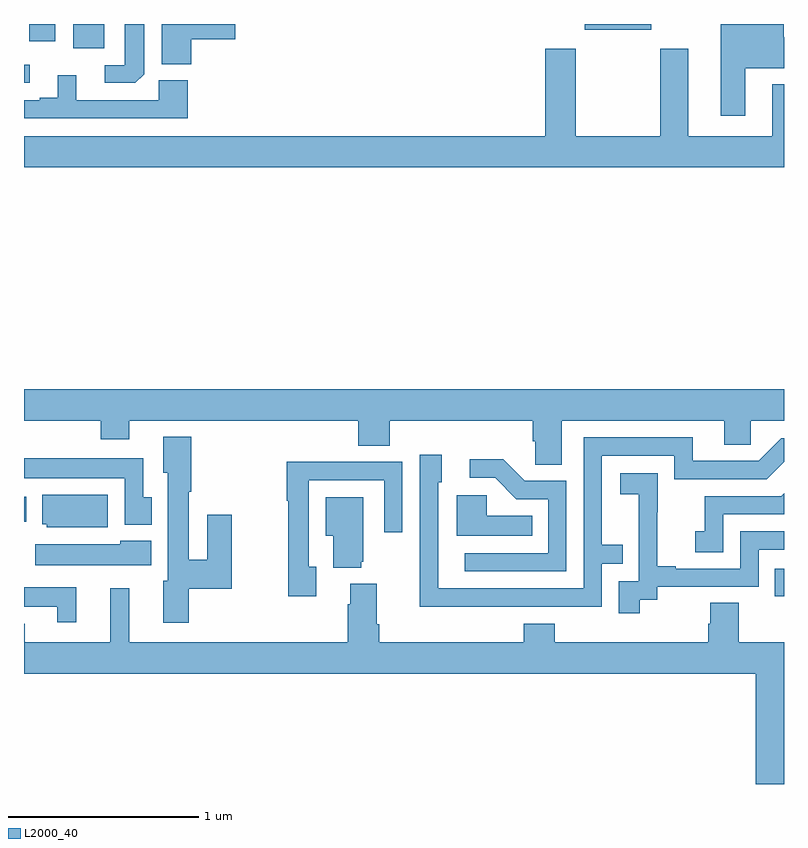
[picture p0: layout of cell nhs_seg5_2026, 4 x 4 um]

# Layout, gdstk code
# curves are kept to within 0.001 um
import gdstk
lib = gdstk.Library(unit=1e-6, precision=1e-09)
def R(c, l, rs):  # rectangles x0, y0, x1, y1
    for r in rs: c.add(gdstk.rectangle(r[:2], r[2:], *l))
def P(c, l, *ps):  # polygons
    for p in ps: c.add(gdstk.Polygon(p, *l))
L2000_40 = (2000, 40)

nhs_seg5_2026 = lib.new_cell('nhs_seg5_2026')
R(nhs_seg5_2026, L2000_40, [(232.951,903.786,233,903.933), (229,904.178,229.012,904.312), (229,906.489,229.03,906.585), (229.259,906.672,229.423,906.799), (229.028,906.708,229.165,906.799), (231.95,906.77,232.3,906.799)])
P(nhs_seg5_2026, L2000_40, [(232.795,906.566),(233,906.566),(233,906.73),(232.999,906.73),(232.999,906.799),(232.667,906.799),(232.667,906.315),(232.795,906.315)],
  [(229.632,906.535),(229.632,906.646),(229.633,906.646),(229.633,906.799),(229.529,906.799),(229.529,906.582),(229.425,906.582),(229.425,906.489),(229.586,906.489)],
  [(229.88,906.719),(230.113,906.719),(230.113,906.799),(229.724,906.799),(229.724,906.587),(229.88,906.587)],
  [(233,906.481),(232.937,906.481),(232.937,906.208),(232.495,906.208),(232.495,906.67),(232.348,906.67),(232.348,906.208),(231.903,906.208),(231.903,906.67),(231.743,906.67),(231.743,906.208),(229,906.208),(229,906.044),(233,906.044)],
  [(229.862,906.502),(229.71,906.502),(229.71,906.399),(229.276,906.399),(229.276,906.529),(229.178,906.529),(229.178,906.412),(229.082,906.412),(229.082,906.399),(229,906.399),(229,906.303),(229.862,906.303)],
  [(231.829,904.712),(232.685,904.712),(232.685,904.585),(232.824,904.585),(232.824,904.712),(233,904.712),(233,904.876),(229,904.876),(229,904.712),(229.403,904.712),(229.403,904.613),(229.555,904.613),(229.555,904.712),(230.759,904.712),(230.759,904.579),(230.924,904.579),(230.924,904.712),(231.677,904.712),(231.677,904.603),(231.69,904.603),(231.69,904.48),(231.829,904.48)],
  [(229.867,903.827),(230.094,903.827),(230.094,904.216),(229.964,904.216),(229.964,903.98),(229.867,903.98),(229.867,904.337),(229.88,904.337),(229.88,904.627),(229.733,904.627),(229.733,904.437),(229.757,904.437),(229.757,903.87),(229.733,903.87),(229.733,903.648),(229.867,903.648)],
  [(231.545,903.732),(232.041,903.732),(232.041,903.957),(232.151,903.957),(232.151,904.058),(232.041,904.058),(232.041,904.527),(232.422,904.527),(232.422,904.404),(232.908,904.404),(233,904.496),(233,904.62),(232.986,904.62),(232.866,904.5),(232.519,904.5),(232.519,904.623),(231.945,904.623),(231.945,903.828),(231.181,903.828),(231.18,904.386),(231.199,904.386),(231.199,904.531),(231.084,904.531),(231.084,904.037),(231.082,904.037),(231.082,903.731)],
  [(229.672,904.308),(229.627,904.308),(229.627,904.513),(229,904.513),(229,904.409),(229.53,904.409),(229.53,904.164),(229.672,904.164)],
  [(231.855,904.395),(231.636,904.395),(231.523,904.508),(231.345,904.508),(231.345,904.41),(231.479,904.41),(231.59,904.299),(231.759,904.299),(231.759,904.014),(231.321,904.014),(231.321,903.918),(231.855,903.918)],
  [(230.539,903.942),(230.499,903.942),(230.499,904.398),(230.895,904.398),(230.895,904.125),(230.991,904.125),(230.991,904.494),(230.675,904.494),(230.675,904.496),(230.383,904.496),(230.383,904.291),(230.391,904.291),(230.391,903.786),(230.539,903.786)],
  [(232.24,903.769),(232.332,903.769),(232.332,903.837),(232.866,903.837),(232.866,904.032),(233,904.032),(233,904.128),(232.77,904.128),(232.77,903.933),(232.429,903.933),(232.429,903.946),(232.334,903.946),(232.334,904.229),(232.335,904.229),(232.335,904.435),(232.137,904.435),(232.137,904.325),(232.235,904.325),(232.235,904.097),(232.236,904.097),(232.236,903.867),(232.131,903.867),(232.131,903.699),(232.24,903.699)],
  [(232.68,904.218),(233,904.218),(233,904.329),(232.985,904.314),(232.582,904.314),(232.582,904.129),(232.533,904.129),(232.533,904.02),(232.68,904.02)],
  [(229.441,904.321),(229.097,904.321),(229.097,904.167),(229.119,904.167),(229.119,904.151),(229.441,904.151)],
  [(231.674,904.21),(231.435,904.21),(231.435,904.318),(231.278,904.318),(231.278,904.106),(231.674,904.106)],
  [(230.774,903.969),(230.785,903.969),(230.785,904.309),(230.588,904.309),(230.588,904.106),(230.627,904.106),(230.627,903.938),(230.774,903.938)],
  [(229.669,904.078),(229.506,904.078),(229.506,904.06),(229.058,904.06),(229.058,903.95),(229.669,903.95)],
  [(233,903.544),(232.761,903.544),(232.761,903.752),(232.613,903.752),(232.613,903.642),(232.601,903.642),(232.601,903.544),(231.794,903.544),(231.794,903.643),(231.629,903.643),(231.629,903.544),(230.87,903.544),(230.87,903.64),(230.857,903.64),(230.857,903.853),(230.717,903.853),(230.717,903.746),(230.705,903.746),(230.705,903.544),(229.553,903.544),(229.553,903.829),(229.454,903.829),(229.454,903.544),(229.003,903.544),(229.003,903.643),(229,903.643),(229,903.38),(232.85,903.38),(232.85,902.799),(233,902.799)],
  [(229.274,903.835),(229,903.835),(229,903.731),(229.175,903.731),(229.175,903.651),(229.274,903.651)])

lib.write_gds('nhs_seg5_2026.gds')
